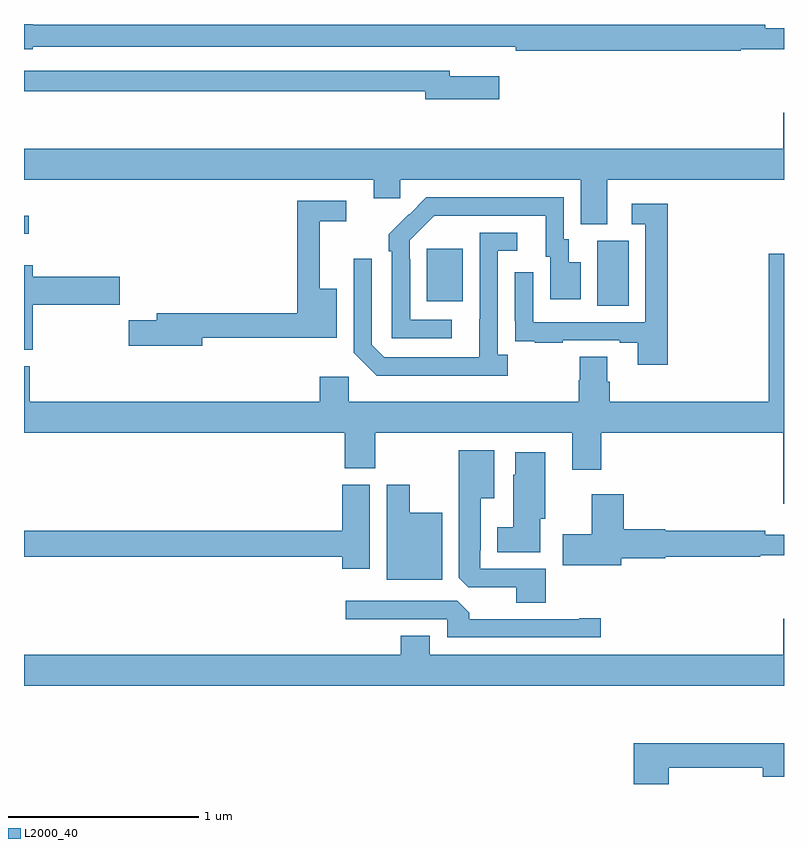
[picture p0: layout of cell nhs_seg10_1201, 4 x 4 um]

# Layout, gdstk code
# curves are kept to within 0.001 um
import gdstk
lib = gdstk.Library(unit=1e-6, precision=1e-09)
def R(c, l, rs):  # rectangles x0, y0, x1, y1
    for r in rs: c.add(gdstk.rectangle(r[:2], r[2:], *l))
def P(c, l, *ps):  # polygons
    for p in ps: c.add(gdstk.Polygon(p, *l))
L2000_40 = (2000, 40)

nhs_seg10_1201 = lib.new_cell('nhs_seg10_1201')
R(nhs_seg10_1201, L2000_40, [(176.018,1269.016,176.182,1269.36), (175.121,1269.041,175.309,1269.316), (173,1269.396,173.026,1269.492)])
P(nhs_seg10_1201, L2000_40, [(176.773,1270.368),(177,1270.368),(177,1270.477),(176.9,1270.477),(176.9,1270.496),(173.046,1270.496),(173.046,1270.5),(173,1270.5),(173,1270.367),(173.046,1270.367),(173.046,1270.38),(175.336,1270.38),(175.336,1270.379),(175.588,1270.379),(175.588,1270.36),(176.773,1270.36)],
  [(175.501,1270.225),(175.24,1270.225),(175.24,1270.254),(173,1270.254),(173,1270.146),(175.112,1270.146),(175.112,1270.103),(175.501,1270.103)],
  [(176.071,1269.68),(177,1269.68),(177,1270.033),(176.996,1270.033),(176.996,1269.844),(173,1269.844),(173,1269.68),(174.842,1269.68),(174.842,1269.582),(174.981,1269.582),(174.981,1269.68),(175.931,1269.68),(175.931,1269.445),(176.071,1269.445)],
  [(175.252,1268.943),(175.032,1268.943),(175.032,1269.263),(175.029,1269.263),(175.029,1269.363),(175.158,1269.492),(175.745,1269.492),(175.745,1269.276),(175.769,1269.276),(175.769,1269.051),(175.93,1269.051),(175.93,1269.247),(175.867,1269.247),(175.867,1269.366),(175.842,1269.366),(175.842,1269.588),(175.118,1269.588),(174.921,1269.393),(174.921,1269.305),(174.936,1269.305),(174.936,1268.847),(175.252,1268.847)],
  [(173.938,1268.85),(174.646,1268.85),(174.646,1269.106),(174.557,1269.106),(174.557,1269.462),(174.697,1269.462),(174.697,1269.57),(174.439,1269.57),(174.439,1268.978),(173.699,1268.978),(173.699,1268.942),(173.55,1268.942),(173.55,1268.807),(173.938,1268.807)],
  [(176.387,1269.553),(176.199,1269.553),(176.199,1269.447),(176.271,1269.447),(176.271,1268.931),(175.68,1268.931),(175.68,1269.193),(175.584,1269.193),(175.584,1268.938),(175.585,1268.938),(175.585,1268.829),(175.687,1268.829),(175.687,1268.823),(175.835,1268.823),(175.835,1268.835),(176.135,1268.835),(176.135,1268.823),(176.231,1268.823),(176.231,1268.706),(176.387,1268.706)],
  [(175.546,1268.758),(175.494,1268.758),(175.494,1269.306),(175.597,1269.306),(175.597,1269.402),(175.398,1269.402),(175.397,1268.745),(174.897,1268.745),(174.831,1268.811),(174.831,1269.265),(174.735,1269.265),(174.735,1268.769),(174.856,1268.648),(175.546,1268.648)],
  [(177,1269.292),(176.921,1269.292),(176.921,1268.512),(176.084,1268.512),(176.084,1268.618),(176.071,1268.618),(176.071,1268.75),(175.924,1268.75),(175.924,1268.625),(175.919,1268.625),(175.919,1268.512),(174.708,1268.512),(174.708,1268.644),(174.557,1268.644),(174.557,1268.512),(173.03,1268.512),(173.03,1268.7),(173,1268.7),(173,1268.348),(174.689,1268.348),(174.689,1268.161),(174.849,1268.161),(174.849,1268.348),(175.886,1268.348),(175.886,1268.154),(176.039,1268.154),(176.039,1268.348),(176.996,1268.348),(176.996,1267.974),(177,1267.974)],
  [(173.045,1269.023),(173.503,1269.023),(173.503,1269.17),(173.045,1269.17),(173.045,1269.229),(173,1269.229),(173,1268.785),(173.045,1268.785)],
  [(175.745,1267.632),(175.401,1267.632),(175.401,1267.729),(175.405,1267.729),(175.405,1268.003),(175.474,1268.003),(175.474,1268.257),(175.289,1268.257),(175.289,1267.585),(175.338,1267.536),(175.592,1267.536),(175.592,1267.453),(175.745,1267.453)],
  [(175.717,1267.896),(175.744,1267.896),(175.744,1268.245),(175.586,1268.245),(175.586,1268.127),(175.574,1268.127),(175.574,1267.852),(175.49,1267.852),(175.49,1267.721),(175.717,1267.721)],
  [(174.82,1268.076),(174.674,1268.076),(174.674,1267.832),(173,1267.832),(173,1267.696),(174.674,1267.696),(174.674,1267.632),(174.82,1267.632)],
  [(175.201,1267.927),(175.03,1267.927),(175.03,1268.074),(174.908,1268.074),(174.908,1267.574),(175.201,1267.574)],
  [(176.143,1267.688),(176.376,1267.688),(176.376,1267.696),(176.876,1267.696),(176.876,1267.704),(177,1267.704),(177,1267.813),(176.9,1267.813),(176.9,1267.832),(176.376,1267.832),(176.376,1267.84),(176.156,1267.84),(176.156,1268.026),(175.988,1268.026),(175.988,1267.815),(175.836,1267.815),(175.836,1267.652),(176.143,1267.652)],
  [(176.035,1267.373),(175.922,1267.373),(175.922,1267.368),(175.343,1267.368),(175.343,1267.402),(175.281,1267.464),(174.693,1267.464),(174.693,1267.368),(175.227,1267.368),(175.227,1267.272),(176.035,1267.272)],
  [(177,1267.369),(176.996,1267.369),(176.996,1267.18),(175.135,1267.18),(175.135,1267.279),(174.983,1267.279),(174.983,1267.18),(173,1267.18),(173,1267.016),(177,1267.016)],
  [(176.393,1266.586),(176.888,1266.586),(176.888,1266.539),(177,1266.539),(177,1266.715),(176.21,1266.715),(176.21,1266.5),(176.393,1266.5)])

lib.write_gds('nhs_seg10_1201.gds')
